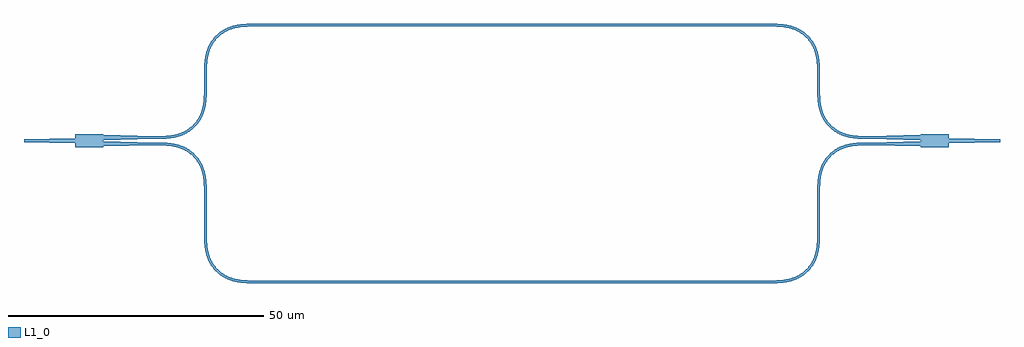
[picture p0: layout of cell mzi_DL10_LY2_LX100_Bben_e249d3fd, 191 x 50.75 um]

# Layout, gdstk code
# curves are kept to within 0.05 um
from math import pi, radians
import gdstk
lib = gdstk.Library(unit=1e-6, precision=1e-09)
def R(c, l, rs):  # rectangles x0, y0, x1, y1
    for r in rs: c.add(gdstk.rectangle(r[:2], r[2:], *l))
def P(c, l, *ps):  # polygons
    for p in ps: c.add(gdstk.Polygon(p, *l))
L1_0 = (1, 0)

mmi1x2_wnone_wt1_lt10_l_ = lib.new_cell('mmi1x2_WNone_WT1_LT10_L_4e0f7121')
P(mmi1x2_wnone_wt1_lt10_l_, L1_0, [(0,-1.25),(0,-0.5),(-10,-0.25),(-10,0.25),(0,0.5),(0,1.25),(5.5,1.25),(5.5,1.125),(15.5,0.875),(15.5,0.375),(5.5,0.125),(5.5,-0.125),(15.5,-0.375),(15.5,-0.875),(5.5,-1.125),(5.5,-1.25)])

bend_euler_rnone_a90_p0_ = lib.new_cell('bend_euler_RNone_A90_P0_d7c3a5a9')
P(bend_euler_rnone_a90_p0_, L1_0, [(0,-0.25),(0,0.25),(2.881,0.353),(3.952,0.52),(4.99,0.806),(6.431,1.505),(7.575,2.425),(8.495,3.569),(9.194,5.01),(9.48,6.048),(9.647,7.119),(9.75,10),(10.25,10),(10.158,7.205),(9.797,5.254),(9.457,4.312),(9.066,3.545),(8.5,2.715),(7.928,2.072),(7.285,1.5),(6.455,0.934),(5.688,0.543),(4.746,0.203),(2.795,-0.158)])

straight_l2_n2_csstrip_w = lib.new_cell('straight_L2_N2_CSstrip_WNone')
R(straight_l2_n2_csstrip_w, L1_0, [(0,-0.25,2,0.25)])

straight_l7_n2_csstrip_w = lib.new_cell('straight_L7_N2_CSstrip_WNone')
R(straight_l7_n2_csstrip_w, L1_0, [(0,-0.25,7,0.25)])

straight_l100_n2_csstrip = lib.new_cell('straight_L100_N2_CSstrip_WNone')
R(straight_l100_n2_csstrip, L1_0, [(0,-0.25,100,0.25)])

mzi_dl10_ly2_lx100_bben_ = lib.new_cell('mzi_DL10_LY2_LX100_Bben_e249d3fd')
mzi_dl10_ly2_lx100_bben_.add(gdstk.Reference(mmi1x2_wnone_wt1_lt10_l_, (0,0)))
mzi_dl10_ly2_lx100_bben_.add(gdstk.Reference(bend_euler_rnone_a90_p0_, (15.5,-0.625), x_reflection=True))
mzi_dl10_ly2_lx100_bben_.add(gdstk.Reference(bend_euler_rnone_a90_p0_, (25.5,-17.625), rotation=3*pi/2))
mzi_dl10_ly2_lx100_bben_.add(gdstk.Reference(bend_euler_rnone_a90_p0_, (15.5,0.625)))
mzi_dl10_ly2_lx100_bben_.add(gdstk.Reference(bend_euler_rnone_a90_p0_, (35.5,22.625), rotation=pi))
mzi_dl10_ly2_lx100_bben_.add(gdstk.Reference(bend_euler_rnone_a90_p0_, (145.5,12.625), rotation=pi/2))
mzi_dl10_ly2_lx100_bben_.add(gdstk.Reference(bend_euler_rnone_a90_p0_, (145.5,10.625), rotation=3*pi/2))
mzi_dl10_ly2_lx100_bben_.add(gdstk.Reference(bend_euler_rnone_a90_p0_, (135.5,-27.625)))
mzi_dl10_ly2_lx100_bben_.add(gdstk.Reference(bend_euler_rnone_a90_p0_, (155.5,-0.625), rotation=pi))
mzi_dl10_ly2_lx100_bben_.add(gdstk.Reference(straight_l2_n2_csstrip_w, (25.5,10.625), rotation=pi/2))
mzi_dl10_ly2_lx100_bben_.add(gdstk.Reference(straight_l7_n2_csstrip_w, (25.5,-10.625), rotation=3*pi/2))
mzi_dl10_ly2_lx100_bben_.add(gdstk.Reference(straight_l100_n2_csstrip, (35.5,22.625)))
mzi_dl10_ly2_lx100_bben_.add(gdstk.Reference(straight_l100_n2_csstrip, (35.5,-27.625)))
mzi_dl10_ly2_lx100_bben_.add(gdstk.Reference(mmi1x2_wnone_wt1_lt10_l_, (171,0), rotation=pi, x_reflection=True))
mzi_dl10_ly2_lx100_bben_.add(gdstk.Reference(straight_l2_n2_csstrip_w, (145.5,10.625), rotation=pi/2))
mzi_dl10_ly2_lx100_bben_.add(gdstk.Reference(straight_l7_n2_csstrip_w, (145.5,-17.625), rotation=pi/2))

lib.write_gds('mzi_DL10_LY2_LX100_Bben_e249d3fd.gds')
